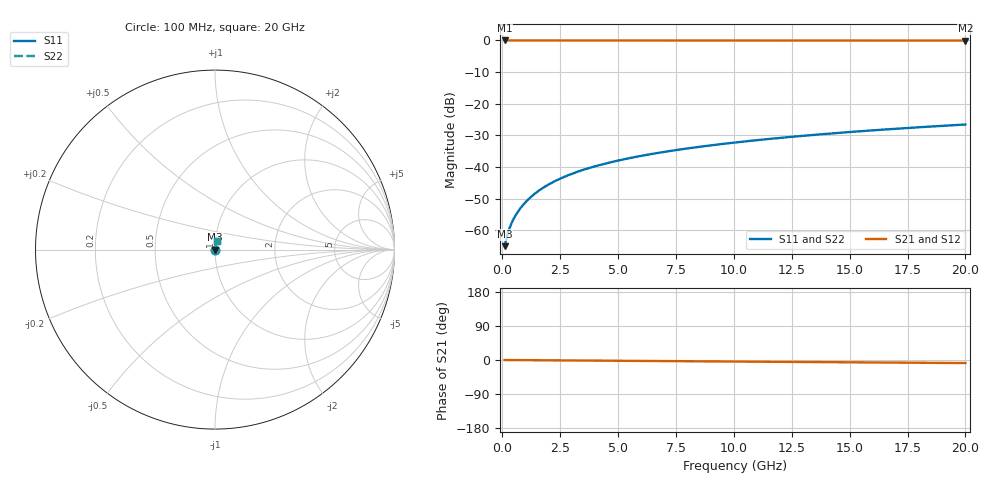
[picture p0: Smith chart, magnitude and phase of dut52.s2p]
! Touchstone file exported from HFSS 2026.1.0
!  File:  C:/ffzhzh/LocalFiles/Ansys_Project_Files/temp_train_TMRDL_52_1782880892_46784.aedt
!  Generated:  12:42:40 PM Jul  1, 2026
!  Design:  TMRDL
!  Project:  temp_train_TMRDL_52_1782880892_46784
! Variables:
!  h_bsmrdl = 2um
!  h_ox = 20um
!  h_rdl = 5um
!  h_sub = 80um
!  h_tmrdl = 5.59um
!  h_tsv = 80um
!  h_via = 3um
!  l_bsmrdl = 300um
!  l_sub = 514.52um
!  l_tmrdl = 114.52um
!  m_sub = 200um
!  pitch = 36.17um
!  r_tsv = 6um
!  s_tmrdl = 10um
!  w_bsmrdl = 18um
!  w_sub = 500um
!  w_tmrdl = 23.55um
!  x_tsv_center1 = 126.295um
!  x_tsv_center2 = 444.295um
!  x_tsv_center3 = 582.365um
!  x_tsv_center4 = 900.365um
!  x_tsv_center5 = 1038.435um
!  x_tsv_center6 = 1356.435um
# GHz S MA R 50.000000
! Terminal data exported
! Port[1] = TM_RDL1_1_T1
! Port[2] = TM_RDL1_1_T2
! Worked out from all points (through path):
!   200 points, 100 MHz to 20 GHz, reference 50 ohm
!   highest |S21| = 0.00 dB at 100 MHz (marker M1); lowest = 0.0 dB at 20 GHz (marker M2)
!   group delay of S21, straight-line fit = 1.11 ps
!   lowest |S11| = -65.0 dB at 100 MHz (marker M3), VSWR 1.00, Z = 50 + j0.0324 ohm
!   |S11| at or under -10 dB: start of sweep to end of sweep
!   |S22| runs from -65.0 to -26.5 dB; largest |S21 - S12| = 1e-15
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0.1  0.000564 35.1  0.9995 -0.0  0.9995 -0.0  0.000564 35.1
! Gamma 0 0 0 0
! Port Impedance 50 0 50 0
0.2  0.0008023 51.1  0.9995 -0.1  0.9995 -0.1  0.0008023 51.1
0.3  0.001054 58.7  0.9995 -0.1  0.9995 -0.1  0.001054 58.7
0.4  0.001301 63.3  0.9994 -0.2  0.9994 -0.2  0.001301 63.3
0.5  0.001545 66.6  0.9994 -0.2  0.9994 -0.2  0.001545 66.6
0.6  0.001789 69.1  0.9994 -0.3  0.9994 -0.3  0.001789 69.1
0.8  0.002282 72.7  0.9993 -0.3  0.9993 -0.3  0.002282 72.7
1.1  0.003032 76.1  0.9993 -0.5  0.9993 -0.5  0.003032 76.1
1.3  0.003537 77.5  0.9993 -0.5  0.9993 -0.5  0.003537 77.5
1.6  0.004297 79.0  0.9992 -0.7  0.9992 -0.7  0.004297 79.0
2.1  0.005564 80.4  0.9991 -0.9  0.9991 -0.9  0.005564 80.4
2.7  0.007072 81.1  0.999 -1.1  0.999 -1.1  0.007072 81.1
3.5  0.009054 81.6  0.9989 -1.5  0.9989 -1.5  0.009054 81.6
4.2  0.01076 81.7  0.9987 -1.7  0.9987 -1.7  0.01076 81.7
5  0.01268 81.7  0.9985 -2.1  0.9985 -2.1  0.01268 81.7
5.9  0.01481 81.6  0.9984 -2.4  0.9984 -2.4  0.01481 81.6
6.8  0.01693 81.6  0.9982 -2.8  0.9982 -2.8  0.01693 81.6
8.3  0.02041 81.4  0.9979 -3.4  0.9979 -3.4  0.02041 81.4
10.1  0.02456 81.1  0.9976 -4.1  0.9976 -4.1  0.02456 81.1
13.4  0.03213 80.3  0.9971 -5.4  0.9971 -5.4  0.03213 80.3
16.7  0.03964 79.4  0.9965 -6.7  0.9965 -6.7  0.03964 79.4
20  0.04707 78.3  0.9959 -8.1  0.9959 -8.1  0.04707 78.3
